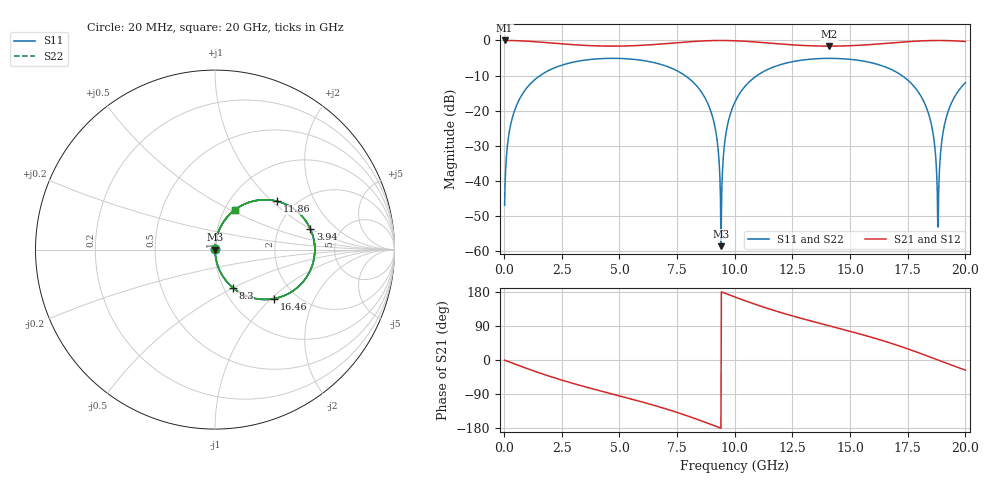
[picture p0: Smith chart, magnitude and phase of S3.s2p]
! Touchstone file exported from Circuit Design 2026.1.0
!  File:  local/demo-project/Project1.aedt
!  Generated:  01:58:19 PM Apr 21, 2026
!  Design:  Circuit1
!  Project:  Project1
!  Setup:  LinearFrequency
!  Solution:  LinearFrequency
# GHz S MA R 50.000000
! Terminal data exported
! Port[1] = Port1
! Port[2] = Port2
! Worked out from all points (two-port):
!   1000 points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, 20 MHz to 20 GHz, reference 50 ohm
!   highest |S21| = 0.00 dB at 20 MHz (marker M1); lowest = -1.6 dB at 14.1 GHz (marker M2)
!   |S21| within 3 dB of the highest: start of sweep to end of sweep
!   lowest |S11| = -58.6 dB at 9.4 GHz (marker M3), VSWR 1.00, Z = 50.1 - j0.105 ohm
!   |S11| at or under -10 dB: start of sweep to 1.558 GHz; 7.844 GHz to 10.97 GHz (3.121 GHz wide, 33.2 % of centre); 17.25 GHz to end of sweep
!   |S22| runs from -58.6 to -5.1 dB; largest |S21 - S12| = 1.6e-14
!   S11 on the Smith chart (normalised r, x): 20 MHz: 1.00, +0.01; 3.94 GHz: 3.03, +0.99; 8.3 GHz: 1.10, -0.50; 11.86 GHz: 1.62, +1.08; 16.46 GHz: 1.56, -1.04; 20 GHz: 1.12, +0.53
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0.02  0.004514 88.0  0.9999 -0.5  0.9999 -0.5  0.004514 88.0
! Gamma 0 0 0 0
! Port Impedance 50 0 50 0
0.26  0.0582 83.7  0.998 -6.0  0.998 -6.0  0.0582 83.7
0.78  0.1703 72.0  0.985 -17.8  0.985 -17.8  0.1703 72.0
3.36  0.5168 21.7  0.8555 -68.2  0.8555 -68.2  0.5168 21.7
3.94  0.5439 12.2  0.8386 -77.8  0.8386 -77.8  0.5439 12.2
6.68  0.4674 -32.9  0.8834 -122.9  0.8834 -122.9  0.4674 -32.9
8.3  0.2347 -65.0  0.9712 -155.0  0.9712 -155.0  0.2347 -65.0
9.06  0.07667 -81.7  0.9961 -172.1  0.9961 -172.1  0.07667 -81.7
9.22  0.04123 -85.0  0.9982 -175.7  0.9982 -175.7  0.04123 -85.0
9.4  0.001178 -62.5  0.999 -179.9  0.999 -179.9  0.001178 -62.5
9.66  0.05692 83.5  0.9974 174.1  0.9974 174.1  0.05692 83.5
10.02  0.1353 75.7  0.9898 165.9  0.9898 165.9  0.1353 75.7
11.86  0.4395 37.7  0.8972 127.8  0.8972 127.8  0.4395 37.7
13.34  0.5434 12.3  0.8385 102.3  0.8385 102.3  0.5434 12.3
14.1  0.5561 0.1  0.8301 90.1  0.8301 90.1  0.5561 0.1
16.46  0.4276 -39.7  0.9029 50.3  0.9029 50.3  0.4276 -39.7
16.68  0.4004 -43.9  0.9152 46.1  0.9152 46.1  0.4004 -43.9
18.24  0.1258 -76.6  0.9907 13.1  0.9907 13.1  0.1258 -76.6
18.58  0.05145 -83.9  0.9973 5.3  0.9973 5.3  0.05145 -83.9
18.8  0.002525 -72.1  0.9986 0.2  0.9986 0.2  0.002525 -72.1
19.18  0.08202 81.0  0.9952 -8.5  0.9952 -8.5  0.08202 81.0
20  0.2505 63.0  0.9667 -26.8  0.9667 -26.8  0.2505 63.0
